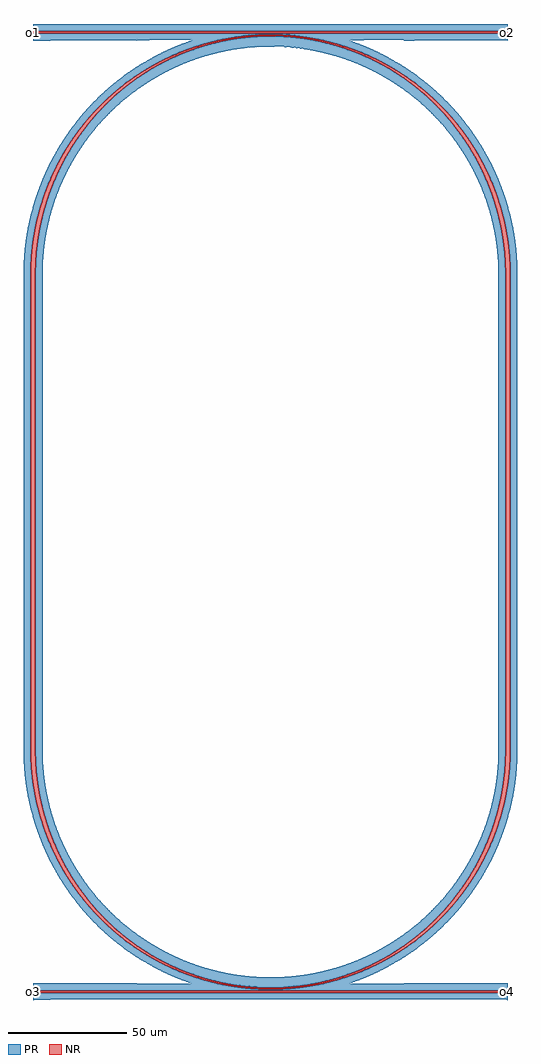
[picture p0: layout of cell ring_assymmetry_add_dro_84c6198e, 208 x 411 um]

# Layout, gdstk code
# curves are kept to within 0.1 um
import gdstk
lib = gdstk.Library(unit=1e-6, precision=1e-09)
def P(c, l, *ps):  # polygons
    for p in ps: c.add(gdstk.Polygon(p, *l))
PR = (60, 0)
NR = (61, 0)

ring_assymmetry_add_dro_ = lib.new_cell('ring_assymmetry_add_dro_84c6198e')
P(ring_assymmetry_add_dro_, PR, [(-100,-205.5),(-100,-202.5),(100,-202.5),(100,-205.5)],
  [(-0.175,-200.4),(-7.877,-200.082),(-15.355,-199.185),(-23.08,-197.634),(-30.485,-195.522),(-37.697,-192.837),(-44.672,-189.598),(-51.367,-185.828),(-57.884,-181.451),(-63.763,-176.803),(-69.639,-171.362),(-74.941,-165.606),(-79.771,-159.46),(-84.014,-153.111),(-87.917,-146.158),(-91.191,-139.084),(-93.962,-131.622),(-96.014,-124.474),(-97.595,-116.858),(-98.541,-109.662),(-98.979,-102.073),(-99,100.173),(-98.877,105.009),(-98.473,110.35),(-97.866,115.151),(-96.964,120.257),(-95.888,124.977),(-94.486,129.973),(-92.77,135.055),(-91.057,139.404),(-89.069,143.828),(-86.706,148.458),(-84.195,152.815),(-81.468,157.045),(-78.531,161.135),(-75.39,165.075),(-72.052,168.854),(-68.4,172.584),(-64.423,176.234),(-60.251,179.666),(-56.038,182.768),(-51.367,185.828),(-46.681,188.538),(-41.692,191.063),(-36.727,193.236),(-31.481,195.189),(-28.987,196),(-0.168,196),(-7.699,195.691),(-15.183,194.792),(-22.736,193.269),(-30.143,191.145),(-37.356,188.434),(-44.328,185.153),(-50.872,181.413),(-57.238,177.07),(-63.234,172.232),(-68.707,167.048),(-74.076,161.064),(-78.639,155.063),(-82.886,148.435),(-86.358,141.933),(-89.564,134.56),(-91.951,127.587),(-93.688,120.942),(-94.921,114.355),(-95.691,107.699),(-95.995,101.005),(-95.998,-100.67),(-95.542,-109.368),(-94.3,-117.989),(-92.858,-124.361),(-90.986,-130.62),(-88.692,-136.738),(-86.063,-142.535),(-83.055,-148.145),(-79.588,-153.683),(-75.649,-159.104),(-71.342,-164.237),(-67.048,-168.707),(-62.22,-173.108),(-56.968,-177.27),(-51.581,-180.966),(-45.66,-184.446),(-39.963,-187.287),(-33.934,-189.803),(-27.747,-191.903),(-21.595,-193.54),(-15.183,-194.792),(-8.868,-195.59),(-2.01,-195.979),(4.187,-195.909),(11.034,-195.364),(17.33,-194.423),(23.712,-193.026),(29.825,-191.25),(36.118,-188.947),(41.933,-186.358),(47.564,-183.389),(53.265,-179.868),(58.574,-176.06),(63.612,-171.9),(68.355,-167.407),(73.755,-161.451),(78.735,-154.926),(83.055,-148.145),(87.006,-140.571),(90.153,-132.991),(92.642,-125.17),(94.483,-117),(95.59,-108.868),(96,-100.168),(95.999,100.503),(95.59,108.868),(94.423,117.33),(93.348,122.411),(92.094,127.105),(90.605,131.729),(88.884,136.273),(86.935,140.723),(84.605,145.365),(82.202,149.587),(79.588,153.683),(76.77,157.64),(73.755,161.451),(70.552,165.103),(67.048,168.707),(63.486,172.011),(59.499,175.339),(55.884,178.058),(51.581,180.966),(47.564,183.389),(43.583,185.537),(39.353,187.564),(35.34,189.259),(31.255,190.77),(26.622,192.235),(22.411,193.348),(17.659,194.362),(10.701,195.402),(3.35,195.942),(-28.987,196),(-21.887,197.916),(-14.662,199.293),(-7.353,200.123),(0.175,200.4),(7.877,200.082),(15.355,199.185),(23.08,197.634),(30.485,195.522),(37.697,192.837),(44.672,189.598),(51.367,185.828),(57.884,181.451),(63.763,176.803),(69.639,171.362),(74.941,165.606),(79.771,159.46),(84.014,153.111),(87.917,146.158),(91.191,139.084),(93.962,131.622),(96.014,124.474),(97.595,116.858),(98.541,109.662),(98.979,102.073),(99,-100.173),(98.877,-105.009),(98.541,-109.662),(97.967,-114.466),(97.133,-119.409),(96.014,-124.474),(94.737,-129.145),(93.181,-133.915),(91.455,-138.444),(89.44,-143.044),(87.197,-147.542),(84.821,-151.775),(82.242,-155.891),(79.362,-160.021),(76.386,-163.868),(73.108,-167.699),(69.884,-171.115),(66.244,-174.612),(62.428,-177.923),(58.586,-180.933),(54.742,-183.655),(50.622,-186.282),(46.219,-188.787),(42.166,-190.838),(37.697,-192.837),(33.132,-194.611),(28.65,-196.104),(24.269,-197.337),(19.319,-198.47),(14.316,-199.345),(9.622,-199.925),(4.554,-200.294)],
  [(-15.34,-201.6),(-100,-201.5),(-100,-198.5),(-33.139,-198.579),(-40.636,-195.733),(-47.861,-192.333),(-54.958,-188.293),(-61.716,-183.709),(-68.093,-178.609),(-74.051,-173.024),(-79.435,-167.128),(-84.351,-160.836),(-88.675,-154.34),(-92.665,-147.215),(-96.014,-139.967),(-98.91,-132.138),(-101.169,-124.102),(-102.72,-116.269),(-103.665,-108.341),(-104,-100.182),(-103.99,101.452),(-103.747,107.255),(-103.203,112.855),(-102.324,118.595),(-101.211,123.925),(-99.509,130.233),(-97.414,136.422),(-94.935,142.466),(-91.912,148.665),(-88.675,154.34),(-85.088,159.801),(-81.165,165.025),(-76.922,169.993),(-72.375,174.685),(-67.266,179.318),(-62.153,183.385),(-56.795,187.123),(-51.528,190.338),(-45.591,193.475),(-39.295,196.291),(-33.139,198.579),(-100,198.5),(-100,201),(-0.176,201),(-4.758,200.888),(-9.505,200.552),(-14.056,200.017),(-18.752,199.244),(-23.235,198.291),(-27.67,197.136),(-32.215,195.725),(-36.524,194.165),(-40.919,192.34),(-45.224,190.31),(-49.428,188.079),(-53.223,185.839),(-57.207,183.237),(-61.065,180.45),(-64.651,177.597),(-68.105,174.584),(-71.418,171.418),(-74.584,168.105),(-77.597,164.651),(-80.45,161.065),(-83.037,157.497),(-85.653,153.522),(-88.079,149.428),(-90.31,145.224),(-92.34,140.919),(-94.037,136.853),(-95.612,132.549),(-97.039,128.009),(-98.25,123.407),(-99.211,118.926),(-100.017,114.056),(-100.552,109.505),(-100.888,104.758),(-101,100.176),(-100.998,-100.705),(-100.843,-105.638),(-100.447,-110.557),(-99.757,-115.8),(-98.902,-120.482),(-97.467,-126.481),(-95.612,-132.549),(-93.513,-138.162),(-91.009,-143.8),(-88.079,-149.428),(-84.802,-154.861),(-81.19,-160.077),(-77.597,-164.651),(-73.263,-169.524),(-68.882,-173.867),(-64.38,-177.822),(-59.509,-181.607),(-54.416,-185.088),(-48.966,-188.337),(-43.482,-191.161),(-37.835,-193.646),(-33.216,-195.382),(-28.686,-196.841),(-24.092,-198.085),(-19.099,-199.178),(-14.406,-199.967),(-9.505,-200.552),(-4.758,-200.888),(0.176,-201),(5.11,-200.871),(10.031,-200.501),(14.754,-199.917),(19.445,-199.111),(24.092,-198.085),(28.855,-196.791),(33.382,-195.324),(38.162,-193.513),(42.365,-191.686),(47.105,-189.343),(51.261,-187.025),(55.451,-184.417),(59.224,-181.814),(63.012,-178.934),(66.925,-175.645),(70.414,-172.408),(73.867,-168.882),(77.03,-165.326),(80.129,-161.485),(83.037,-157.497),(85.839,-153.223),(88.337,-148.966),(90.467,-144.908),(92.553,-140.435),(94.355,-136.031),(96.057,-131.211),(97.374,-126.821),(98.568,-122.032),(99.466,-117.538),(100.226,-112.484),(100.716,-107.573),(100.97,-102.468),(100.998,100.705),(100.843,105.638),(100.447,110.557),(99.757,115.8),(98.866,120.654),(97.374,126.821),(95.612,132.549),(93.513,138.162),(91.009,143.8),(88.079,149.428),(84.802,154.861),(81.19,160.077),(77.597,164.651),(73.263,169.524),(68.882,173.867),(64.38,177.822),(59.509,181.607),(54.416,185.088),(48.966,188.337),(43.482,191.161),(37.835,193.646),(30.035,196.431),(22.032,198.568),(13.707,200.066),(5.814,200.833),(0.176,201),(-100,201),(-100,201.5),(100,201.5),(100,198.5),(33.139,198.579),(40.636,195.733),(47.861,192.333),(54.958,188.293),(61.716,183.709),(68.093,178.609),(74.051,173.024),(79.435,167.128),(84.351,160.836),(88.675,154.34),(92.665,147.215),(96.014,139.967),(98.91,132.138),(101.169,124.102),(102.72,116.269),(103.665,108.341),(104,100.182),(103.99,-101.452),(103.747,-107.255),(103.203,-112.855),(102.324,-118.595),(101.211,-123.925),(99.509,-130.233),(97.414,-136.422),(94.935,-142.466),(91.912,-148.665),(88.675,-154.34),(85.088,-159.801),(81.165,-165.025),(76.922,-169.993),(72.375,-174.685),(67.266,-179.318),(62.153,-183.385),(56.795,-187.123),(51.528,-190.338),(45.591,-193.475),(39.295,-196.291),(33.139,-198.579),(100,-198.5),(100,-201.5)],
  [(-15.34,202.4),(-100,202.5),(-100,205.5),(100,205.5),(100,202.5)])
P(ring_assymmetry_add_dro_, NR, [(-100,-202.5),(-100.5,-202),(-100.125,-201.625),(-100.05,-201.625),(-100.43,-202),(100.05,-202),(100.05,-202.375),(100.43,-202),(-100.05,-202),(-100.05,-201.625),(-100.125,-201.625),(-100,-201.5),(-15.34,-201.6),(100,-201.5),(100.5,-202),(100,-202.5),(15.34,-202.4)],
  [(-100,201.5),(-100.5,202),(-100.125,202.375),(-100.05,202.375),(-100.43,202),(100.05,202),(100.05,201.625),(100.43,202),(-100.05,202),(-100.05,202.375),(-100.125,202.375),(-100,202.5),(-15.34,202.4),(100,202.5),(100.5,202),(100,201.5),(15.34,201.6)],
  [(-0.176,-201),(-8.1,-200.675),(-15.8,-199.757),(-23.749,-198.168),(-31.211,-196.057),(-38.651,-193.312),(-45.696,-190.072),(-52.622,-186.209),(-59.224,-181.814),(-65.326,-177.03),(-71.168,-171.667),(-76.572,-165.862),(-81.399,-159.793),(-85.653,-153.522),(-89.588,-146.637),(-93.04,-139.302),(-95.781,-132.048),(-97.871,-124.947),(-99.466,-117.538),(-100.501,-110.031),(-100.978,-102.115),(-101,100.176),(-100.871,105.11),(-100.501,110.031),(-99.891,114.929),(-99.042,119.791),(-97.871,124.947),(-96.587,129.53),(-95.089,134.047),(-93.176,138.977),(-91.161,143.482),(-88.845,148.038),(-86.392,152.321),(-83.733,156.478),(-81.085,160.219),(-77.822,164.38),(-74.584,168.105),(-71.168,171.667),(-67.582,175.058),(-63.698,178.381),(-59.793,181.399),(-55.599,184.32),(-51.261,187.025),(-46.793,189.507),(-42.365,191.686),(-37.835,193.646),(-32.716,195.555),(-28.009,197.039),(-22.892,198.372),(-17.886,199.404),(-10.991,200.4),(-0.175,200.4),(-7.877,200.082),(-15.701,199.129),(-23.08,197.634),(-30.817,195.412),(-38.342,192.565),(-45.293,189.277),(-52.404,185.181),(-58.725,180.829),(-65.078,175.66),(-70.736,170.243),(-76.056,164.272),(-80.778,158.045),(-85.173,151.177),(-88.844,144.296),(-91.907,137.319),(-94.587,129.642),(-96.377,122.96),(-97.788,115.663),(-98.634,108.629),(-98.995,101.037),(-98.998,-100.691),(-98.541,-109.662),(-97.294,-118.56),(-95.888,-124.977),(-93.962,-131.622),(-91.65,-137.963),(-88.844,-144.296),(-85.865,-149.974),(-82.242,-155.891),(-78.321,-161.411),(-74.146,-166.528),(-69.639,-171.362),(-64.554,-176.12),(-59.422,-180.304),(-54.016,-184.139),(-48.361,-187.606),(-42.323,-190.763),(-35.915,-193.561),(-29.652,-195.791),(-23.08,-197.634),(-16.909,-198.925),(-10.319,-199.853),(-3.679,-200.331),(2.978,-200.355),(9.97,-199.89),(16.564,-198.985),(23.08,-197.634),(29.485,-195.844),(35.915,-193.561),(42.166,-190.838),(48.057,-187.778),(54.016,-184.139),(59.422,-180.304),(64.554,-176.12),(69.393,-171.608),(75.278,-165.208),(80.579,-158.329),(83.186,-154.435),(85.521,-150.577),(89.44,-143.044),(92.77,-135.055),(95.449,-126.65),(97.387,-118.05),(98.541,-109.662),(98.877,-105.009),(99,-100.173),(98.999,100.518),(98.877,105.009),(98.541,109.662),(97.294,118.56),(95.358,126.983),(92.77,135.055),(89.513,142.888),(85.521,150.577),(80.877,157.903),(75.613,164.808),(69.884,171.115),(63.497,177.029),(56.894,182.165),(49.722,186.819),(42.323,190.763),(34.446,194.127),(29.151,195.949),(23.76,197.466),(18.632,198.606),(13.102,199.517),(8.575,200.023),(3.679,200.331),(-10.991,200.4),(-5.286,200.862),(0.176,201),(8.1,200.675),(15.8,199.757),(23.749,198.168),(31.211,196.057),(38.651,193.312),(45.696,190.072),(52.622,186.209),(59.224,181.814),(65.326,177.03),(71.168,171.667),(76.572,165.862),(81.399,159.793),(85.653,153.522),(89.588,146.637),(93.04,139.302),(95.781,132.048),(97.871,124.947),(99.466,117.538),(100.501,110.031),(100.978,102.115),(101,-100.176),(100.871,-105.11),(100.501,-110.031),(99.891,-114.929),(99.042,-119.791),(97.871,-124.947),(96.587,-129.53),(95.089,-134.047),(93.312,-138.651),(91.388,-143.004),(89.178,-147.417),(86.665,-151.868),(84.125,-155.893),(81.085,-160.219),(78.046,-164.108),(74.94,-167.713),(71.418,-171.418),(67.713,-174.94),(64.108,-178.046),(60.219,-181.085),(55.893,-184.125),(51.868,-186.665),(47.417,-189.178),(43.004,-191.388),(38.651,-193.312),(33.881,-195.148),(28.855,-196.791),(24.092,-198.085),(19.445,-199.111),(14.754,-199.917),(9.505,-200.552),(4.758,-200.888)])
ring_assymmetry_add_dro_.add(gdstk.Label('o2', (100,202), layer=61, texttype=0))
ring_assymmetry_add_dro_.add(gdstk.Label('o1', (-100,202), layer=61, texttype=0))
ring_assymmetry_add_dro_.add(gdstk.Label('o3', (-100,-202), layer=61, texttype=0))
ring_assymmetry_add_dro_.add(gdstk.Label('o4', (100,-202), layer=61, texttype=0))

lib.write_gds('ring_assymmetry_add_dro_84c6198e.gds')
